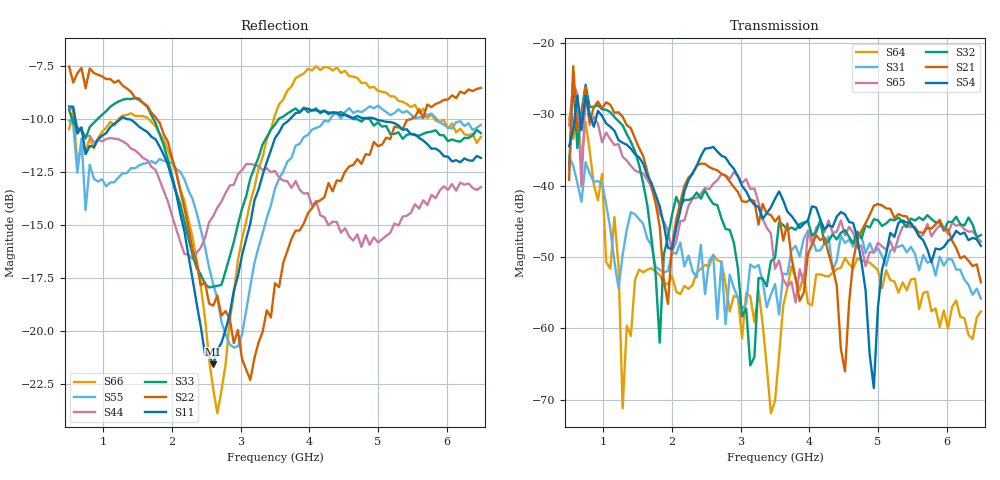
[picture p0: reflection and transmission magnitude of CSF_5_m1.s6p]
!Keysight Technologies,M9804A,MY58100912,A.14.10.03
!Date: Thursday, April 27, 2023 10:28:33
!Correction: S11(C  6-Port  )
!S12(C  6-Port  )
!S13(C  6-Port  )
!S14(C  6-Port  )
!S15(C  6-Port  )
!S16(C  6-Port  )
!S21(C  6-Port  )
!S22(C  6-Port  )
!S23(C  6-Port  )
!S24(C  6-Port  )
!S25(C  6-Port  )
!S26(C  6-Port  )
!S31(C  6-Port  )
!S32(C  6-Port  )
!S33(C  6-Port  )
!S34(C  6-Port  )
!S35(C  6-Port  )
!S36(C  6-Port  )
!S41(C  6-Port  )
!S42(C  6-Port  )
!S43(C  6-Port  )
!S44(C  6-Port  )
!S45(C  6-Port  )
!S46(C  6-Port  )
!S51(C  6-Port  )
!S52(C  6-Port  )
!S53(C  6-Port  )
!S54(C  6-Port  )
!S55(C  6-Port  )
!S56(C  6-Port  )
!S61(C  6-Port  )
!S62(C  6-Port  )
!S63(C  6-Port  )
!S64(C  6-Port  )
!S65(C  6-Port  )
!S66(C  6-Port  )
!S6P File: Measurement: :
# Hz S  RI  R 50
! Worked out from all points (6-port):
!   101 points, 500 MHz to 6.5 GHz, reference 50 ohm
!   strongest paths, dB at 500 MHz, 2 GHz, 3.5 GHz, 5 GHz, 6.5 GHz:
!     S54: -34.5, -48.9, -41.8, -57.0, -48.4
!     S21: -39.2, -48.4, -45.0, -42.6, -53.5
!     S32: -37.7, -44.1, -50.1, -44.9, -46.9
!     S65: -31.6, -49.2, -51.6, -48.0, -47.8
!     S31: -35.9, -49.3, -53.8, -48.8, -55.8
!     S64: -30.4, -52.6, -70.2, -51.8, -57.6
!   lowest |S11| = -21.6 dB at 2.6 GHz (marker M1), VSWR 1.18, Z = 42.6 + j2.07 ohm
!   |S11| at or under -10 dB: 588 MHz to 1.244 GHz (656 MHz wide, 71.6 % of centre); 1.368 GHz to 3.715 GHz (2.347 GHz wide, 92.3 % of centre); 4.973 GHz to end of sweep
